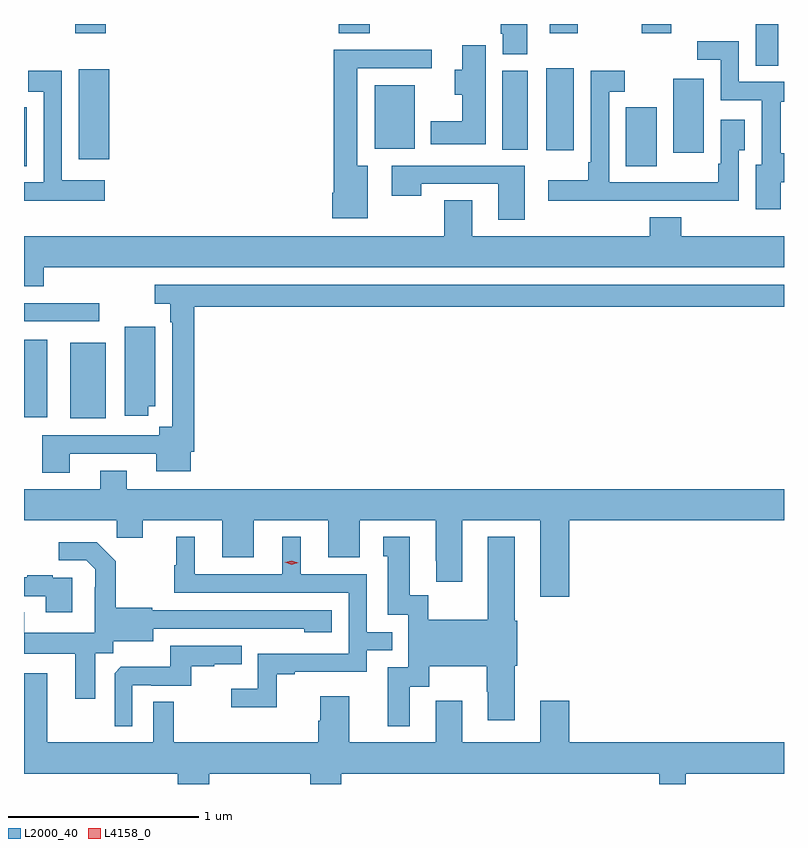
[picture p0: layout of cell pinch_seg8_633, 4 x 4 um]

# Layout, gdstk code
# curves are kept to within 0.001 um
import gdstk
lib = gdstk.Library(unit=1e-6, precision=1e-09)
def R(c, l, rs):  # rectangles x0, y0, x1, y1
    for r in rs: c.add(gdstk.rectangle(r[:2], r[2:], *l))
def P(c, l, *ps):  # polygons
    for p in ps: c.add(gdstk.Polygon(p, *l))
L2000_40 = (2000, 40)
L4158_0 = (4158, 0)

pinch_seg8_633 = lib.new_cell('pinch_seg8_633')
R(pinch_seg8_633, L2000_40, [(350,1087.733,350.188,1088.131), (349.757,1087.739,349.879,1088.146), (349.757,1088.244,350.152,1088.34), (349.757,1089.061,349.771,1089.372), (352.925,1089.061,353.086,1089.372), (350.045,1089.096,350.206,1089.571), (353.174,1089.131,353.335,1089.52), (352.505,1089.144,352.651,1089.577), (352.274,1089.148,352.408,1089.564), (351.602,1089.152,351.814,1089.487), (353.609,1089.589,353.728,1089.809), (350.026,1089.761,350.186,1089.809), (351.413,1089.761,351.578,1089.809), (352.523,1089.761,352.671,1089.809), (353.008,1089.761,353.163,1089.809)])
P(pinch_seg8_633, L2000_40, [(352.405,1089.809),(352.265,1089.809),(352.265,1089.759),(352.277,1089.759),(352.277,1089.649),(352.405,1089.649)],
  [(353.74,1088.975),(353.757,1088.975),(353.757,1089.128),(353.74,1089.128),(353.74,1089.401),(353.757,1089.401),(353.757,1089.504),(353.52,1089.504),(353.52,1089.718),(353.301,1089.718),(353.301,1089.621),(353.424,1089.621),(353.424,1089.408),(353.639,1089.408),(353.639,1089.067),(353.609,1089.067),(353.609,1088.835),(353.74,1088.835)],
  [(352.186,1089.697),(352.064,1089.697),(352.064,1089.567),(352.025,1089.567),(352.025,1089.437),(352.064,1089.437),(352.064,1089.298),(351.899,1089.298),(351.899,1089.176),(352.186,1089.176)],
  [(351.565,1089.064),(351.511,1089.064),(351.511,1089.576),(351.904,1089.576),(351.904,1089.674),(351.386,1089.674),(351.386,1088.922),(351.38,1088.922),(351.38,1088.786),(351.565,1088.786)],
  [(350.182,1088.986),(349.956,1088.986),(349.956,1089.562),(349.779,1089.562),(349.779,1089.453),(349.86,1089.453),(349.86,1088.976),(349.757,1088.976),(349.757,1088.88),(349.763,1088.88),(349.763,1088.879),(350.182,1088.879)],
  [(352.933,1088.88),(353.299,1088.88),(353.299,1088.879),(353.52,1088.879),(353.52,1089.145),(353.551,1089.145),(353.551,1089.304),(353.424,1089.304),(353.424,1089.073),(353.412,1089.073),(353.412,1088.977),(353.182,1088.977),(353.182,1088.976),(352.836,1088.976),(352.836,1089.453),(352.918,1089.453),(352.918,1089.562),(352.74,1089.562),(352.74,1089.082),(352.728,1089.082),(352.728,1088.986),(352.515,1088.986),(352.515,1088.879),(352.933,1088.879)],
  [(352.393,1089.063),(351.693,1089.063),(351.693,1088.904),(351.849,1088.904),(351.849,1088.967),(352.253,1088.967),(352.253,1088.778),(352.393,1088.778)],
  [(349.862,1088.528),(353.757,1088.528),(353.757,1088.692),(353.216,1088.692),(353.216,1088.791),(353.051,1088.791),(353.051,1088.692),(352.117,1088.692),(352.117,1088.882),(351.97,1088.882),(351.97,1088.692),(349.757,1088.692),(349.757,1088.429),(349.862,1088.429)],
  [(349.999,1087.548),(350.453,1087.548),(350.453,1087.454),(350.635,1087.454),(350.635,1087.558),(350.654,1087.558),(350.654,1088.32),(353.757,1088.32),(353.757,1088.436),(350.445,1088.436),(350.445,1088.336),(350.526,1088.336),(350.526,1088.24),(350.538,1088.24),(350.538,1087.69),(350.468,1087.69),(350.468,1087.644),(349.852,1087.644),(349.852,1087.446),(349.999,1087.446)],
  [(350.41,1087.796),(350.449,1087.796),(350.449,1088.215),(350.288,1088.215),(350.288,1087.747),(350.41,1087.747)],
  [(352.628,1087.196),(353.757,1087.196),(353.757,1087.36),(350.299,1087.36),(350.299,1087.459),(350.159,1087.459),(350.159,1087.36),(349.757,1087.36),(349.757,1087.196),(350.245,1087.196),(350.245,1087.106),(350.383,1087.106),(350.383,1087.196),(350.801,1087.196),(350.801,1087.002),(350.965,1087.002),(350.965,1087.196),(351.359,1087.196),(351.359,1087.002),(351.523,1087.002),(351.523,1087.196),(351.923,1087.196),(351.923,1086.985),(351.926,1086.985),(351.926,1086.873),(352.063,1086.873),(352.063,1087.196),(352.475,1087.196),(352.475,1086.795),(352.628,1086.795)],
  [(351.787,1086.322),(351.889,1086.322),(351.889,1086.428),(352.192,1086.428),(352.192,1086.294),(352.199,1086.294),(352.199,1086.144),(352.339,1086.144),(352.339,1086.432),(352.352,1086.432),(352.352,1086.669),(352.339,1086.669),(352.339,1087.111),(352.199,1087.111),(352.199,1086.673),(351.885,1086.673),(351.885,1086.803),(351.787,1086.803),(351.787,1087.111),(351.647,1087.111),(351.647,1087.008),(351.671,1087.008),(351.671,1086.699),(351.78,1086.699),(351.78,1086.423),(351.671,1086.423),(351.671,1086.114),(351.787,1086.114)],
  [(351.087,1086.387),(351.181,1086.387),(351.181,1086.399),(351.561,1086.399),(351.561,1086.513),(351.695,1086.513),(351.695,1086.609),(351.561,1086.609),(351.561,1086.912),(351.214,1086.912),(351.214,1087.111),(351.116,1087.111),(351.116,1086.912),(350.656,1086.912),(350.656,1087.111),(350.558,1087.111),(350.558,1086.96),(350.547,1086.96),(350.547,1086.816),(351.465,1086.816),(351.465,1086.495),(350.988,1086.495),(350.988,1086.31),(350.847,1086.31),(350.847,1086.212),(351.087,1086.212)],
  [(350.131,1086.496),(350.226,1086.496),(350.226,1086.56),(350.437,1086.56),(350.437,1086.627),(351.231,1086.626),(351.231,1086.608),(351.376,1086.608),(351.376,1086.723),(350.433,1086.723),(350.433,1086.736),(350.241,1086.736),(350.241,1086.981),(350.141,1087.081),(349.941,1087.081),(349.941,1086.987),(350.085,1086.987),(350.132,1086.94),(350.132,1086.845),(350.13,1086.845),(350.13,1086.604),(349.759,1086.604),(349.759,1086.713),(349.757,1086.713),(349.757,1086.494),(350.027,1086.494),(350.027,1086.258),(350.131,1086.258)],
  [(350.011,1086.894),(349.907,1086.894),(349.907,1086.907),(349.775,1086.907),(349.775,1086.896),(349.757,1086.896),(349.757,1086.798),(349.871,1086.798),(349.871,1086.714),(350.011,1086.714)],
  [(350.328,1086.33),(350.428,1086.33),(350.428,1086.327),(350.636,1086.327),(350.636,1086.429),(350.759,1086.429),(350.759,1086.44),(350.903,1086.44),(350.903,1086.537),(350.526,1086.537),(350.526,1086.425),(350.267,1086.425),(350.235,1086.393),(350.235,1086.113),(350.328,1086.113)],
  [(350.732,1085.864),(351.263,1085.864),(351.263,1085.809),(351.428,1085.809),(351.428,1085.864),(353.1,1085.864),(353.1,1085.809),(353.239,1085.809),(353.239,1085.864),(353.757,1085.864),(353.757,1086.028),(352.628,1086.028),(352.628,1086.247),(352.475,1086.247),(352.475,1086.028),(352.063,1086.028),(352.063,1086.247),(351.923,1086.247),(351.923,1086.028),(351.469,1086.028),(351.469,1086.271),(351.317,1086.271),(351.317,1086.141),(351.305,1086.141),(351.305,1086.028),(350.545,1086.028),(350.545,1086.242),(350.436,1086.242),(350.436,1086.028),(349.879,1086.028),(349.879,1086.391),(349.757,1086.391),(349.757,1085.864),(350.567,1085.864),(350.567,1085.809),(350.732,1085.809)])
P(pinch_seg8_633, L4158_0, [(351.165,1086.964),(351.13,1086.975),(351.129,1086.975),(351.13,1086.975),(351.165,1086.984),(351.2,1086.973),(351.201,1086.973),(351.2,1086.973)])

lib.write_gds('pinch_seg8_633.gds')
